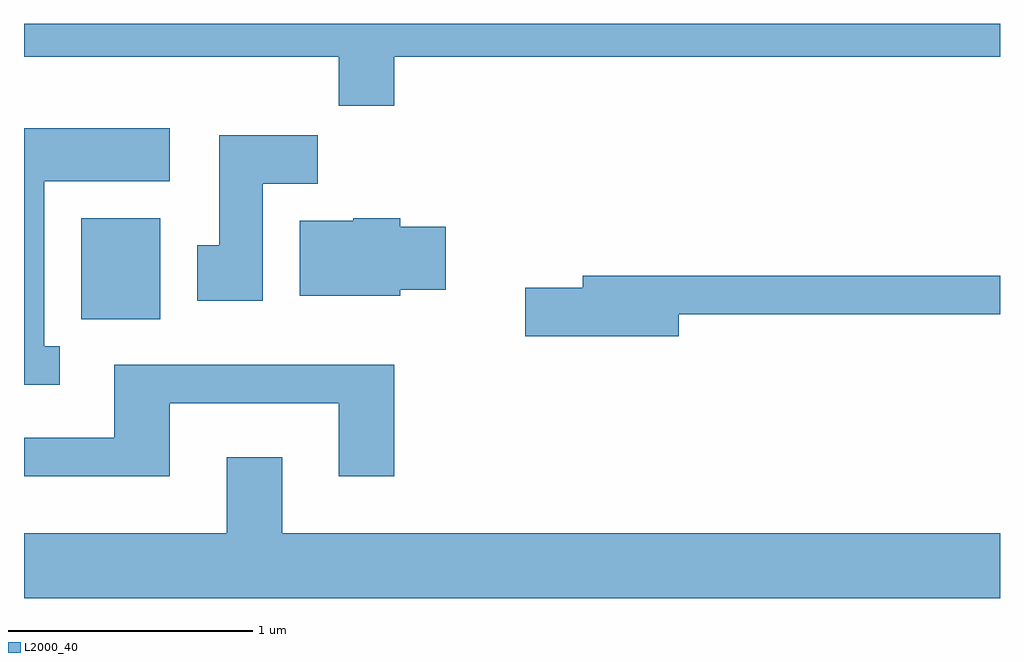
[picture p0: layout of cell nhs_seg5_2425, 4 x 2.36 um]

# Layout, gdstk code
import gdstk
lib = gdstk.Library(unit=1e-6, precision=1e-09)
def R(c, l, rs):  # rectangles x0, y0, x1, y1
    for r in rs: c.add(gdstk.rectangle(r[:2], r[2:], *l))
def P(c, l, *ps):  # polygons
    for p in ps: c.add(gdstk.Polygon(p, *l))
L2000_40 = (2000, 40)

nhs_seg5_2425 = lib.new_cell('nhs_seg5_2425')
R(nhs_seg5_2425, L2000_40, [(257.846,1426.861,258.169,1427.274)])
P(nhs_seg5_2425, L2000_40, [(259.129,1427.936),(261.611,1427.936),(261.611,1428.072),(257.611,1428.072),(257.611,1427.936),(258.901,1427.936),(258.901,1427.736),(259.129,1427.736)],
  [(257.758,1426.749),(257.694,1426.749),(257.694,1427.426),(258.209,1427.426),(258.209,1427.644),(257.611,1427.644),(257.611,1426.591),(257.758,1426.591)],
  [(258.589,1427.416),(258.814,1427.416),(258.814,1427.614),(258.411,1427.614),(258.411,1427.164),(258.321,1427.164),(258.321,1426.936),(258.589,1426.936)],
  [(259.154,1426.981),(259.339,1426.981),(259.339,1427.239),(259.154,1427.239),(259.154,1427.274),(258.96,1427.274),(258.96,1427.264),(258.741,1427.264),(258.741,1426.956),(259.154,1426.956)],
  [(260.294,1426.881),(261.611,1426.881),(261.611,1427.039),(259.901,1427.039),(259.901,1426.989),(259.666,1426.989),(259.666,1426.791),(260.294,1426.791)],
  [(258.209,1426.516),(258.901,1426.516),(258.901,1426.216),(259.129,1426.216),(259.129,1426.674),(257.981,1426.674),(257.981,1426.374),(257.611,1426.374),(257.611,1426.216),(258.209,1426.216)],
  [(261.611,1425.984),(258.669,1425.984),(258.669,1426.294),(258.441,1426.294),(258.441,1425.984),(257.611,1425.984),(257.611,1425.716),(261.611,1425.716)])

lib.write_gds('nhs_seg5_2425.gds')
